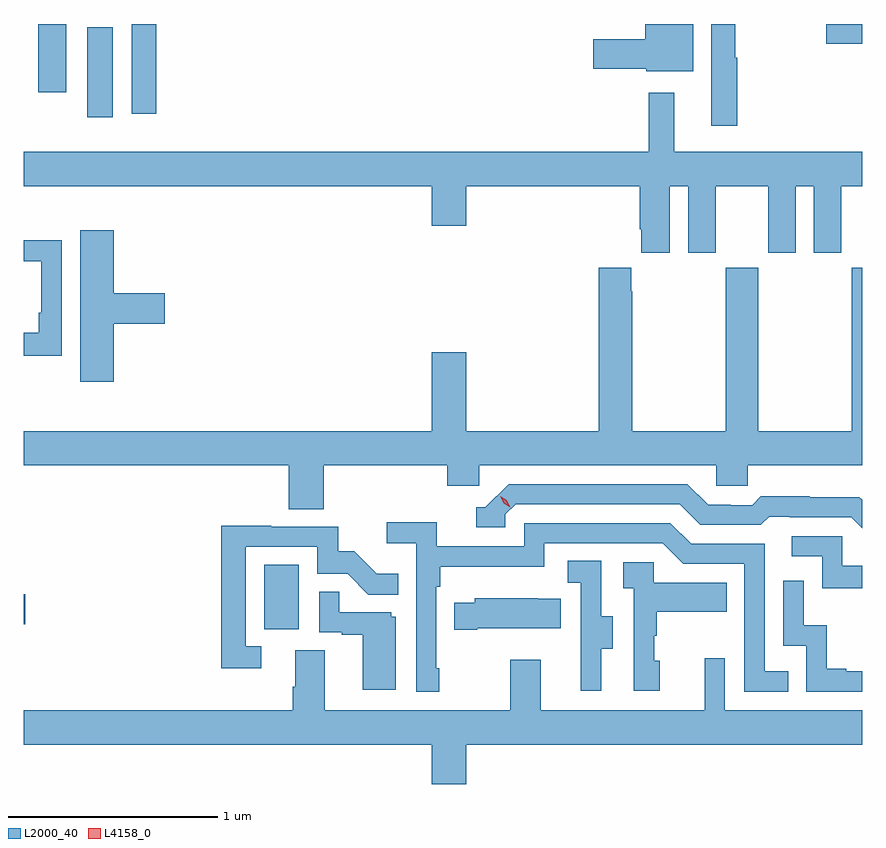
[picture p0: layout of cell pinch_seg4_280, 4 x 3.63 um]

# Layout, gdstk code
import gdstk
lib = gdstk.Library(unit=1e-6, precision=1e-09)
def R(c, l, rs):  # rectangles x0, y0, x1, y1
    for r in rs: c.add(gdstk.rectangle(r[:2], r[2:], *l))
def P(c, l, *ps):  # polygons
    for p in ps: c.add(gdstk.Polygon(p, *l))
L2000_40 = (2000, 40)
L4158_0 = (4158, 0)

pinch_seg4_280 = lib.new_cell('pinch_seg4_280')
R(pinch_seg4_280, L2000_40, [(907.466,809.358,907.63,809.665), (906.318,809.383,906.325,809.525), (906.62,811.8,906.742,812.23), (906.834,811.818,906.95,812.246), (906.386,811.92,906.52,812.246), (910.147,812.151,910.318,812.246)])
P(pinch_seg4_280, L2000_40, [(909.511,812.246),(909.284,812.246),(909.284,812.174),(909.036,812.174),(909.036,812.032),(909.288,812.032),(909.288,812.021),(909.511,812.021)],
  [(909.721,812.085),(909.713,812.085),(909.713,812.246),(909.599,812.246),(909.599,811.761),(909.721,811.761)],
  [(909.4,811.472),(909.488,811.472),(909.488,811.155),(909.619,811.155),(909.619,811.472),(909.869,811.472),(909.869,811.155),(910,811.155),(910,811.472),(910.088,811.472),(910.088,811.155),(910.219,811.155),(910.219,811.472),(910.318,811.472),(910.318,811.636),(909.421,811.636),(909.421,811.918),(909.3,811.918),(909.3,811.636),(906.318,811.636),(906.318,811.472),(908.264,811.472),(908.264,811.284),(908.428,811.284),(908.428,811.472),(909.257,811.472),(909.257,811.267),(909.263,811.267),(909.263,811.155),(909.4,811.155)],
  [(906.748,810.815),(906.991,810.815),(906.991,810.962),(906.748,810.962),(906.748,811.261),(906.587,811.261),(906.587,810.54),(906.748,810.54)],
  [(906.498,811.214),(906.318,811.214),(906.318,811.113),(906.402,811.113),(906.402,810.868),(906.389,810.868),(906.389,810.772),(906.318,810.772),(906.318,810.663),(906.498,810.663)],
  [(907.748,810.14),(908.339,810.14),(908.339,810.042),(908.49,810.042),(908.49,810.14),(909.621,810.14),(909.621,810.042),(909.771,810.042),(909.771,810.14),(910.318,810.14),(910.318,811.084),(910.267,811.084),(910.267,810.304),(909.822,810.304),(909.822,811.084),(909.667,811.084),(909.667,810.304),(909.222,810.304),(909.222,810.971),(909.217,810.971),(909.217,811.084),(909.062,811.084),(909.062,810.304),(908.428,810.304),(908.428,810.679),(908.264,810.679),(908.264,810.304),(906.318,810.304),(906.318,810.14),(907.583,810.14),(907.583,809.932),(907.748,809.932)],
  [(910.318,809.975),(910.304,809.989),(910.068,809.989),(910.068,809.992),(909.835,809.992),(909.793,809.949),(909.69,809.949),(909.69,809.952),(909.583,809.952),(909.484,810.051),(908.631,810.051),(908.52,809.94),(908.477,809.94),(908.477,809.844),(908.616,809.844),(908.616,809.907),(908.664,809.955),(909.447,809.955),(909.546,809.856),(909.835,809.856),(909.874,809.895),(909.973,809.895),(909.973,809.892),(910.266,809.892),(910.318,809.84)],
  [(908.299,809.173),(908.286,809.173),(908.286,809.561),(908.306,809.561),(908.306,809.657),(908.802,809.657),(908.802,809.769),(909.366,809.769),(909.465,809.67),(909.756,809.67),(909.756,809.061),(909.965,809.061),(909.965,809.157),(909.852,809.157),(909.852,809.766),(909.502,809.766),(909.403,809.865),(908.706,809.865),(908.706,809.754),(908.288,809.754),(908.288,809.87),(908.049,809.87),(908.049,809.768),(908.19,809.768),(908.19,809.061),(908.299,809.061)],
  [(907.45,809.277),(907.377,809.277),(907.377,809.751),(907.719,809.751),(907.719,809.622),(907.863,809.622),(907.961,809.524),(908.105,809.524),(908.105,809.623),(908.001,809.623),(907.894,809.73),(907.818,809.73),(907.818,809.847),(907.499,809.847),(907.499,809.852),(907.261,809.852),(907.261,809.172),(907.45,809.172)],
  [(910.318,809.661),(910.224,809.661),(910.224,809.802),(909.981,809.802),(909.981,809.706),(910.128,809.706),(910.128,809.553),(910.318,809.553)],
  [(909.073,809.266),(909.127,809.266),(909.127,809.421),(909.072,809.421),(909.072,809.684),(908.913,809.684),(908.913,809.581),(908.976,809.581),(908.976,809.277),(908.975,809.277),(908.975,809.064),(909.073,809.064)],
  [(909.352,809.208),(909.327,809.208),(909.327,809.327),(909.337,809.327),(909.337,809.441),(909.671,809.441),(909.671,809.581),(909.324,809.581),(909.324,809.679),(909.177,809.679),(909.177,809.555),(909.228,809.555),(909.228,809.064),(909.352,809.064)],
  [(910.318,809.157),(910.243,809.157),(910.243,809.17),(910.148,809.17),(910.148,809.378),(910.038,809.378),(910.038,809.59),(909.942,809.59),(909.942,809.28),(910.05,809.28),(910.05,809.061),(910.318,809.061)],
  [(908.092,809.418),(908.07,809.418),(908.07,809.439),(907.823,809.439),(907.823,809.537),(907.728,809.537),(907.728,809.343),(907.835,809.343),(907.835,809.331),(907.934,809.331),(907.934,809.07),(908.092,809.07)],
  [(908.482,809.363),(908.879,809.363),(908.879,809.503),(908.771,809.503),(908.771,809.506),(908.469,809.506),(908.469,809.485),(908.371,809.485),(908.371,809.356),(908.482,809.356)],
  [(908.428,808.808),(910.318,808.808),(910.318,808.972),(909.663,808.972),(909.663,809.221),(909.566,809.221),(909.566,808.972),(908.785,808.972),(908.785,809.212),(908.638,809.212),(908.638,808.972),(907.753,808.972),(907.753,809.258),(907.613,809.258),(907.613,809.084),(907.601,809.084),(907.601,808.972),(906.318,808.972),(906.318,808.808),(908.264,808.808),(908.264,808.62),(908.428,808.62)])
P(pinch_seg4_280, L4158_0, [(908.639,809.94),(908.608,809.96),(908.592,809.992),(908.592,809.992),(908.592,809.992),(908.623,809.973),(908.639,809.941),(908.639,809.94)])

lib.write_gds('pinch_seg4_280.gds')
